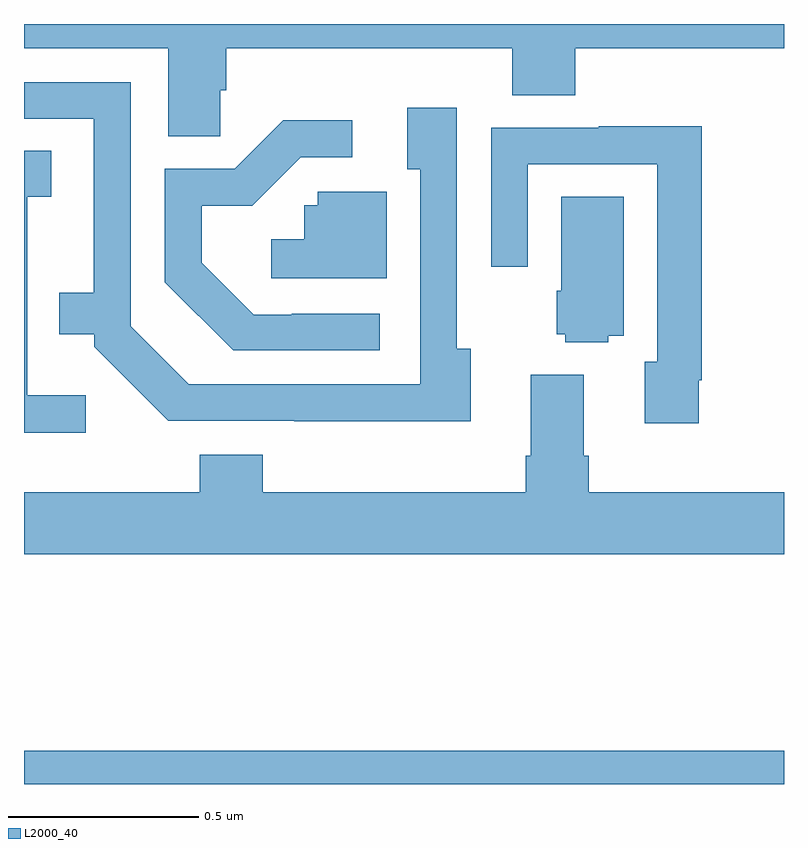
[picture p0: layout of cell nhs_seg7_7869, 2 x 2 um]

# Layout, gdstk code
import gdstk
lib = gdstk.Library(unit=1e-6, precision=1e-09)
def R(c, l, rs):  # rectangles x0, y0, x1, y1
    for r in rs: c.add(gdstk.rectangle(r[:2], r[2:], *l))
def P(c, l, *ps):  # polygons
    for p in ps: c.add(gdstk.Polygon(p, *l))
L2000_40 = (2000, 40)

nhs_seg7_7869 = lib.new_cell('nhs_seg7_7869')
R(nhs_seg7_7869, L2000_40, [(217,1012,219,1012.088)])
P(nhs_seg7_7869, L2000_40, [(217.517,1013.826),(217.532,1013.826),(217.532,1013.936),(218.285,1013.936),(218.285,1013.812),(218.45,1013.812),(218.45,1013.936),(219,1013.936),(219,1014),(217,1014),(217,1013.936),(217.379,1013.936),(217.379,1013.704),(217.517,1013.704)],
  [(218.176,1013.146),(218.139,1013.146),(218.139,1013.779),(218.009,1013.779),(218.009,1013.618),(218.043,1013.618),(218.043,1013.052),(217.434,1013.052),(217.281,1013.205),(217.281,1013.847),(217,1013.847),(217,1013.751),(217.184,1013.751),(217.184,1013.293),(217.093,1013.293),(217.093,1013.183),(217.185,1013.183),(217.185,1013.151),(217.38,1012.956),(217.711,1012.956),(217.711,1012.955),(218.176,1012.955)],
  [(217.936,1013.238),(217.705,1013.238),(217.705,1013.235),(217.605,1013.235),(217.468,1013.372),(217.468,1013.522),(217.601,1013.522),(217.728,1013.649),(217.864,1013.649),(217.864,1013.747),(217.682,1013.747),(217.554,1013.619),(217.371,1013.619),(217.371,1013.321),(217.55,1013.142),(217.936,1013.142)],
  [(218.776,1013.062),(218.783,1013.062),(218.783,1013.731),(218.513,1013.731),(218.513,1013.727),(218.229,1013.727),(218.229,1013.361),(218.325,1013.361),(218.325,1013.631),(218.667,1013.631),(218.667,1013.111),(218.633,1013.111),(218.633,1012.95),(218.776,1012.95)],
  [(217.162,1013.023),(217.008,1013.023),(217.008,1013.545),(217.072,1013.545),(217.072,1013.666),(217,1013.666),(217,1012.925),(217.162,1012.925)],
  [(217.954,1013.559),(217.773,1013.559),(217.773,1013.523),(217.737,1013.523),(217.737,1013.434),(217.65,1013.434),(217.65,1013.331),(217.954,1013.331)],
  [(218.538,1013.18),(218.578,1013.18),(218.578,1013.546),(218.414,1013.546),(218.414,1013.298),(218.402,1013.298),(218.402,1013.184),(218.424,1013.184),(218.424,1013.162),(218.538,1013.162)],
  [(219,1012.768),(218.486,1012.768),(218.486,1012.864),(218.473,1012.864),(218.473,1013.077),(218.333,1013.077),(218.333,1012.864),(218.321,1012.864),(218.321,1012.768),(217.628,1012.768),(217.628,1012.867),(217.463,1012.867),(217.463,1012.768),(217,1012.768),(217,1012.604),(219,1012.604)])

lib.write_gds('nhs_seg7_7869.gds')
